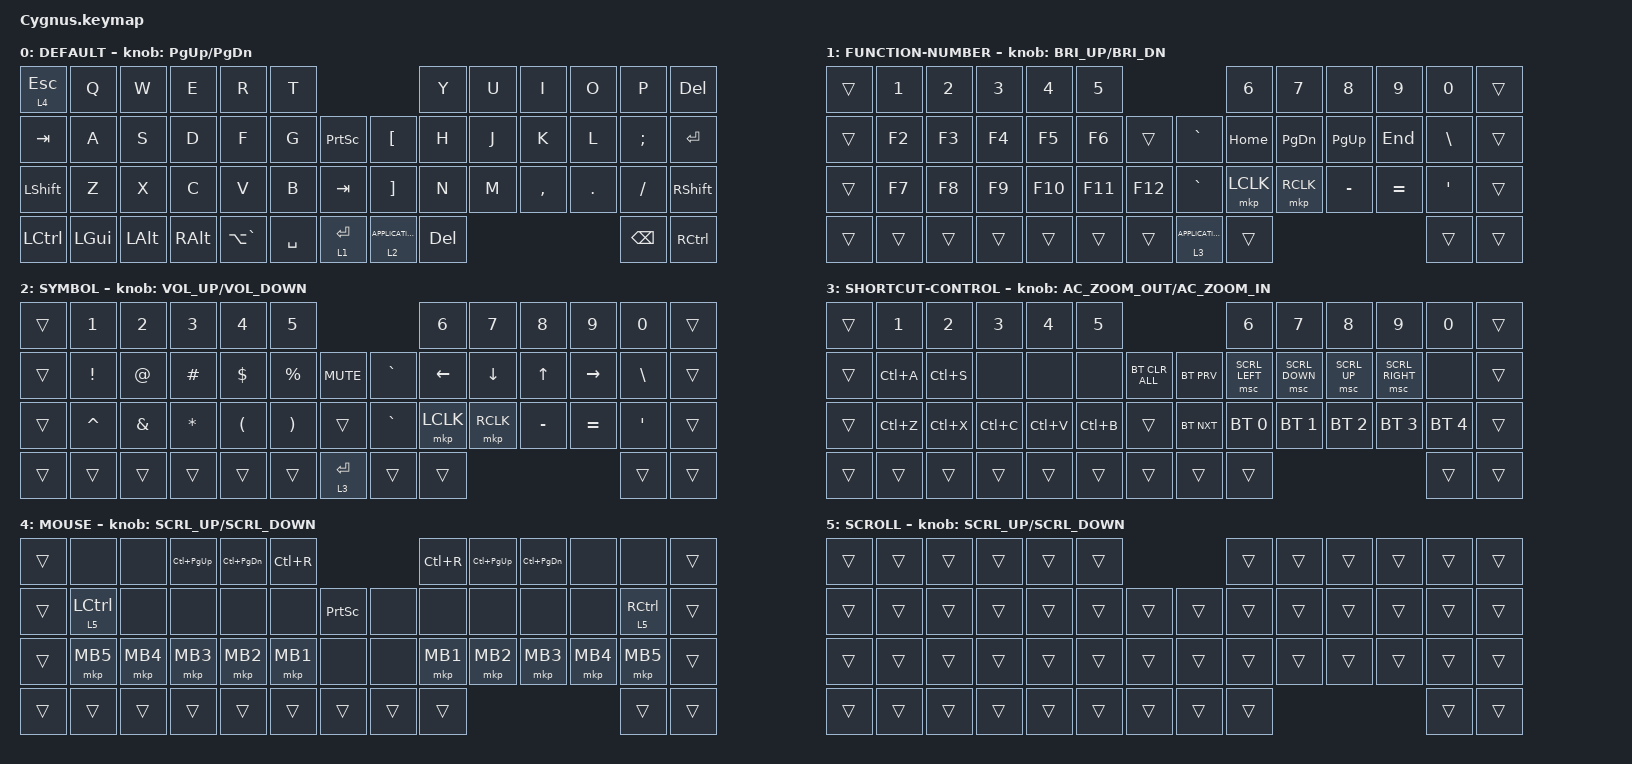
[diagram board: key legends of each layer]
#define ZMK_POINTING_DEFAULT_SCRL_VAL 120    // default: 10

#include <behaviors.dtsi>
#include <dt-bindings/zmk/bt.h>
#include <dt-bindings/zmk/keys.h>
#include <dt-bindings/zmk/pointing.h>

#define MOUSE 4
#define SCROLL 5
#define NUM 6

&mt {
    flavor = "balanced";
    quick-tap-ms = <0>;
};

/ {
    combos {
        compatible = "zmk,combos";

        double_quotation {
            bindings = <&kp DOUBLE_QUOTES>;
            key-positions = <20 21>;
        };
    };

    macros {
        to_layer_0: to_layer_0 {
            compatible = "zmk,behavior-macro-one-param";
            #binding-cells = <1>;
            bindings = <&to 0 &macro_param_1to1 &kp MACRO_PLACEHOLDER>;
            label = "TO_LAYER_0";
        };
    };

    behaviors {
        lt_to_layer_0: lt_to_layer_0 {
            compatible = "zmk,behavior-hold-tap";
            label = "LAYER_TAP_TO_0";
            bindings = <&mo>, <&to_layer_0>;

            #binding-cells = <2>;
            tapping-term-ms = <200>;
        };

        ROTATE: ROTATE {
            compatible = "zmk,behavior-sensor-rotate-var";
            label = "ROTATE";
            #sensor-binding-cells = <2>;
            bindings = <&msc>, <&msc>;

            tap-ms = <20>;
        };
    };

    keymap {
        compatible = "zmk,keymap";

        DEFAULT {
            bindings = <
&lt 4 ESCAPE  &kp Q     &kp W     &kp E          &kp R          &kp T                                              &kp Y       &kp U  &kp I      &kp O    &kp P          &kp DELETE
&kp TAB       &kp A     &kp S     &kp D          &kp F          &kp G      &kp PRINTSCREEN    &kp LEFT_BRACKET     &kp H       &kp J  &kp K      &kp L    &kp SEMICOLON  &kp ENTER
&kp LSHFT     &kp Z     &kp X     &kp C          &kp V          &kp B      &kp TAB            &kp RIGHT_BRACKET    &kp N       &kp M  &kp COMMA  &kp DOT  &kp FSLH       &kp RSHFT
&kp LCTRL     &kp LGUI  &kp LALT  &kp RIGHT_ALT  &kp LA(GRAVE)  &kp SPACE  &lt 1 ENTER        &lt 2 K_APPLICATION  &kp DELETE                             &kp BACKSPACE  &kp RCTRL
            >;

            sensor-bindings = <&inc_dec_kp PAGE_UP PAGE_DOWN>;
        };

        FUNCTION-NUMBER {
            bindings = <
&trans  &kp NUMBER_1  &kp NUMBER_2  &kp NUMBER_3  &kp NUMBER_4  &kp NUMBER_5                                  &kp NUMBER_6  &kp NUMBER_7   &kp NUMBER_8  &kp NUMBER_9  &kp NUMBER_0      &trans
&trans  &kp F2        &kp F3        &kp F4        &kp F5        &kp F6        &trans     &kp GRAVE            &kp HOME      &kp PAGE_DOWN  &kp PAGE_UP   &kp END       &kp BACKSLASH     &trans
&trans  &kp F7        &kp F8        &kp F9        &kp F10       &kp F11       &kp F12    &kp GRAVE            &mkp LCLK     &mkp RCLK      &kp MINUS     &kp EQUAL     &kp SINGLE_QUOTE  &trans
&trans  &trans        &trans        &trans        &trans        &trans        &trans     &lt 3 K_APPLICATION  &trans                                                   &trans            &trans
            >;

            sensor-bindings = <&inc_dec_kp C_BRI_UP C_BRI_DN>;
        };

        SYMBOL {
            bindings = <
&trans  &kp NUMBER_1     &kp NUMBER_2   &kp NUMBER_3  &kp NUMBER_4          &kp NUMBER_5                                     &kp NUMBER_6    &kp NUMBER_7    &kp NUMBER_8  &kp NUMBER_9     &kp NUMBER_0      &trans
&trans  &kp EXCLAMATION  &kp AT_SIGN    &kp HASH      &kp DOLLAR            &kp PERCENT            &kp K_MUTE     &kp GRAVE  &kp LEFT_ARROW  &kp DOWN_ARROW  &kp UP_ARROW  &kp RIGHT_ARROW  &kp BACKSLASH     &trans
&trans  &kp CARET        &kp AMPERSAND  &kp ASTERISK  &kp LEFT_PARENTHESIS  &kp RIGHT_PARENTHESIS  &trans         &kp GRAVE  &mkp LCLK       &mkp RCLK       &kp MINUS     &kp EQUAL        &kp SINGLE_QUOTE  &trans
&trans  &trans           &trans         &trans        &trans                &trans                 &lt 3 ENTER    &trans     &trans                                                         &trans            &trans
            >;

            sensor-bindings = <&inc_dec_kp C_VOL_UP C_VOLUME_DOWN>;
        };

        SHORTCUT-CONTROL {
            bindings = <
&trans  &kp NUMBER_1  &kp NUMBER_2  &kp NUMBER_3  &kp NUMBER_4  &kp NUMBER_5                                &kp NUMBER_6    &kp NUMBER_7    &kp NUMBER_8  &kp NUMBER_9     &kp NUMBER_0  &trans
&trans  &kp LC(A)     &kp LC(S)     &none         &none         &none         &bt BT_CLR_ALL    &bt BT_PRV  &msc SCRL_LEFT  &msc SCRL_DOWN  &msc SCRL_UP  &msc SCRL_RIGHT  &none         &trans
&trans  &kp LC(Z)     &kp LC(X)     &kp LC(C)     &kp LC(V)     &kp LC(B)     &trans            &bt BT_NXT  &bt BT_SEL 0    &bt BT_SEL 1    &bt BT_SEL 2  &bt BT_SEL 3     &bt BT_SEL 4  &trans
&trans  &trans        &trans        &trans        &trans        &trans        &trans            &trans      &trans                                                         &trans        &trans
            >;

            sensor-bindings = <&inc_dec_kp C_AC_ZOOM_OUT C_AC_ZOOM_IN>;
        };

        MOUSE {
            bindings = <
&trans  &none               &none     &kp LC(PAGE_UP)  &kp LC(PAGE_DOWN)  &kp LC(R)                             &kp LC(R)  &kp LC(PAGE_UP)  &kp LC(PAGE_DOWN)  &none     &none                &trans
&trans  &lt 5 LEFT_CONTROL  &none     &none            &none              &none      &kp PRINTSCREEN    &none   &none      &none            &none              &none     &lt 5 RIGHT_CONTROL  &trans
&trans  &mkp MB5            &mkp MB4  &mkp MB3         &mkp MB2           &mkp MB1   &none              &none   &mkp MB1   &mkp MB2         &mkp MB3           &mkp MB4  &mkp MB5             &trans
&trans  &trans              &trans    &trans           &trans             &trans     &trans             &trans  &trans                                                   &trans               &trans
            >;

            sensor-bindings = <&ROTATE SCRL_UP SCRL_DOWN>;
        };

        SCROLL {
            bindings = <
&trans  &trans  &trans  &trans  &trans  &trans                    &trans  &trans  &trans  &trans  &trans  &trans
&trans  &trans  &trans  &trans  &trans  &trans  &trans    &trans  &trans  &trans  &trans  &trans  &trans  &trans
&trans  &trans  &trans  &trans  &trans  &trans  &trans    &trans  &trans  &trans  &trans  &trans  &trans  &trans
&trans  &trans  &trans  &trans  &trans  &trans  &trans    &trans  &trans                          &trans  &trans
            >;

            sensor-bindings = <&ROTATE SCRL_UP SCRL_DOWN>;
        };
    };
};
